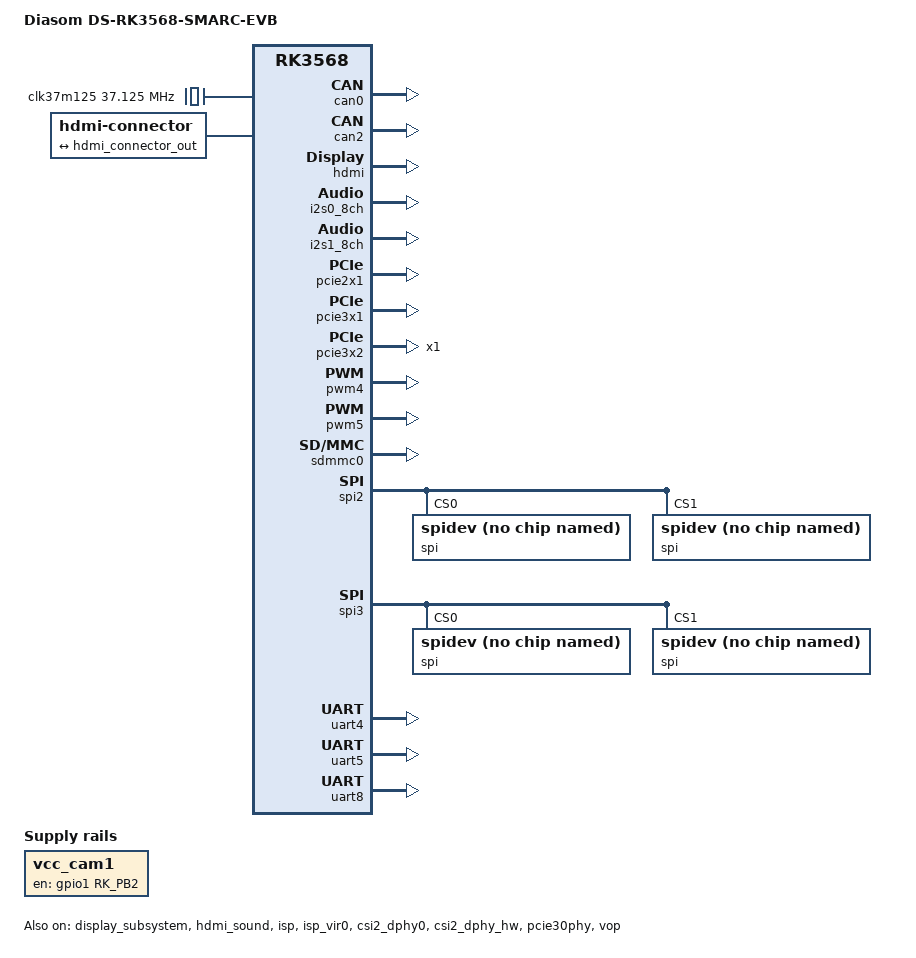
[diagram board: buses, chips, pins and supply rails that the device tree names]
/* SPDX-License-Identifier: GPL-2.0+ */
/* SPDX-FileCopyrightText: Alexander Shiyan <shc_work@mail.ru> */

/dts-v1/;

#include <dt-bindings/soc/rockchip,vop2.h>

#include "rk3568-diasom-som-smarc.dtsi"

/ {
	model = "Diasom DS-RK3568-SMARC-EVB";
	compatible = "diasom,ds-rk3568-som-smarc-evb",
		     "diasom,ds-rk3568-som-smarc",
		     "diasom,ds-rk3568-som",
		     "rockchip,rk3568";

	aliases {
		camera0 = &imx335;
		camera1 = &imx415;
		mmc1 = &sdmmc0;
	};

	chosen {
		environment-sd {
			compatible = "barebox,environment";
			device-path = &sdmmc0, "partname:env";
			status = "disabled";
		};
	};

	clk37m125: clk37m125 {
		compatible = "fixed-clock";
		clock-frequency = <37125000>;
		#clock-cells = <0>;
	};

	hdmi-connector {
		compatible = "hdmi-connector";
		label = "HDMI";
		type = "a";

		port {
			hdmi_connector_in: endpoint {
				remote-endpoint = <&hdmi_connector_out>;
			};
		};
	};

	vcc_cam1: vcc-cam1-regulator {
		pinctrl-names = "default";
		pinctrl-0 = <&csi1_pwr>;
		compatible = "regulator-fixed";
		/* Used by RAW probe for cameras connected via I2C */
		regulator-boot-on;
		/* Temporary until fixed in adapter */
		enable-active-high;
		gpio = <&gpio1 RK_PB2 GPIO_ACTIVE_HIGH>;
		regulator-name = "vcc_cam1";
		startup-delay-us = <250000>;
	};
};

&can0 {
	status = "okay";
};

&can2 {
	status = "okay";
};

&display_subsystem {
	status = "okay";
};

&hdmi {
	status = "okay";
};

&hdmi_in {
	hdmi_in_vp0: endpoint {
		remote-endpoint = <&vp0_out_hdmi>;
	};
};

&hdmi_out {
	hdmi_connector_out: endpoint {
		remote-endpoint = <&hdmi_connector_in>;
	};
};

&hdmi_sound {
	status = "okay";
};

&i2c7 {
	imx335: camera-0@1a {
		pinctrl-names = "default";
		pinctrl-0 = <&csi1_rst>;
		compatible = "sony,imx335";
		reg = <0x1a>;
		clocks = <&xin24m>;
		power-domains = <&power RK3568_PD_VI>;
		reset-gpios = <&gpio1 RK_PB3 GPIO_ACTIVE_LOW>;
		avdd-supply = <&vcc_cam1>;
		dvdd-supply = <&vcc_cam1>;
		ovdd-supply = <&vcc_cam1>;
		status = "disabled";

		port {
			imx335_out: endpoint {
				data-lanes = <1 2 3 4>;
				remote-endpoint = <&imx335_in>;
				link-frequencies = /bits/ 64 <594000000>;
			};
		};
	};

	imx415: camera-1@1a {
		pinctrl-names = "default";
		pinctrl-0 = <&csi1_rst>;
		compatible = "sony,imx415";
		reg = <0x1a>;
		clocks = <&clk37m125>;
		clock-names = "inck";
		power-domains = <&power RK3568_PD_VI>;
		reset-gpios = <&gpio1 RK_PB3 GPIO_ACTIVE_LOW>;
		avdd-supply = <&vcc_cam1>;
		dvdd-supply = <&vcc_cam1>;
		ovdd-supply = <&vcc_cam1>;
		status = "disabled";

		port {
			imx415_out: endpoint {
				data-lanes = <1 2 3 4>;
				remote-endpoint = <&imx415_in>;
				link-frequencies = /bits/ 64 <891000000>;
			};
		};
	};
};

&i2s0_8ch {
	/* HDMI Sound */
	status = "okay";
};

&i2s1_8ch {
	status = "okay";
};

&isp {
	status = "okay";
};

&isp_mmu {
	status = "okay";
};

&isp_vir0 {
	status = "okay";

	port {
		#address-cells = <1>;
		#size-cells = <0>;

		isp_in: endpoint@0 {
			reg = <0>;
			remote-endpoint = <&csi_out>;
		};
	};
};

&csi2_dphy0 {
	status = "okay";

	ports {
		#address-cells = <1>;
		#size-cells = <0>;

		port@0 {
			reg = <0>;
			#address-cells = <1>;
			#size-cells = <0>;

			imx335_in: endpoint@0 {
				reg = <0>;
				data-lanes = <1 2 3 4>;
				remote-endpoint = <&imx335_out>;
			};

			imx415_in: endpoint@1 {
				reg = <1>;
				data-lanes = <1 2 3 4>;
				remote-endpoint = <&imx415_out>;
			};
		};

		port@1 {
			reg = <1>;

			csi_out: endpoint {
				remote-endpoint = <&isp_in>;
				data-lanes = <1 2 3 4>;
			};
		};
	};
};

&csi2_dphy_hw {
	status = "okay";
};

&pcie2x1 {
	status = "okay";
};

&pcie30phy {
	data-lanes = <1 2>;
	status = "okay";
};

&pcie3x1 {
	status = "okay";
};

&pcie3x2 {
	num-lanes = <1>;
	status = "okay";
};

&pwm4 {
	status = "okay";
};

&pwm5 {
	status = "okay";
};

&sdmmc0 {
	status = "okay";
};

&spi2 {
	status = "okay";

	spi@0 {
		compatible = "rohm,dh2228fv";
		reg = <0>;
	};

	spi@1 {
		compatible = "rohm,dh2228fv";
		reg = <1>;
	};
};

&spi3 {
	status = "okay";

	spi@0 {
		compatible = "rohm,dh2228fv";
		reg = <0>;
	};

	spi@1 {
		compatible = "rohm,dh2228fv";
		reg = <1>;
	};
};

&uart4 {
	status = "okay";
};

&uart5 {
	status = "okay";
};

&uart8 {
	status = "okay";
};

&vop {
	status = "okay";
};

&vop_mmu {
	status = "okay";
};

&vp0 {
	vp0_out_hdmi: endpoint@ROCKCHIP_VOP2_EP_HDMI0 {
		reg = <ROCKCHIP_VOP2_EP_HDMI0>;
		remote-endpoint = <&hdmi_in_vp0>;
	};
};

&pinctrl {
	pinctrl-0 = <&gmac1m1_miim &rstout_pins &gpio_pins>;

	csi {
		csi1_pwr: csi1-pwr-pins {
			rockchip,pins =
				<1 RK_PB2 RK_FUNC_GPIO &pcfg_pull_up>;		/* GPIO1/CAM1_PWR# */
		};

		csi1_rst: csi1-rst-pins {
			rockchip,pins =
				<1 RK_PB3 RK_FUNC_GPIO &pcfg_pull_up>;		/* GPIO3/CAM1_RST# */
		};
	};

	gpio {
		gpio_pins: gpio-pins {
			rockchip,pins =
				<1 RK_PA2 RK_FUNC_GPIO &pcfg_pull_none>,	/* GPIO0 */
				<3 RK_PB6 RK_FUNC_GPIO &pcfg_pull_none>,	/* GPIO2 */
				<2 RK_PD6 RK_FUNC_GPIO &pcfg_pull_none>,	/* GPIO4 */
				<3 RK_PC0 RK_FUNC_GPIO &pcfg_pull_none>,	/* GPIO5 */
				<3 RK_PB7 RK_FUNC_GPIO &pcfg_pull_none>,	/* GPIO6 */
				<4 RK_PC1 RK_FUNC_GPIO &pcfg_pull_none>;	/* GPIO7 */
		};
	};
};
